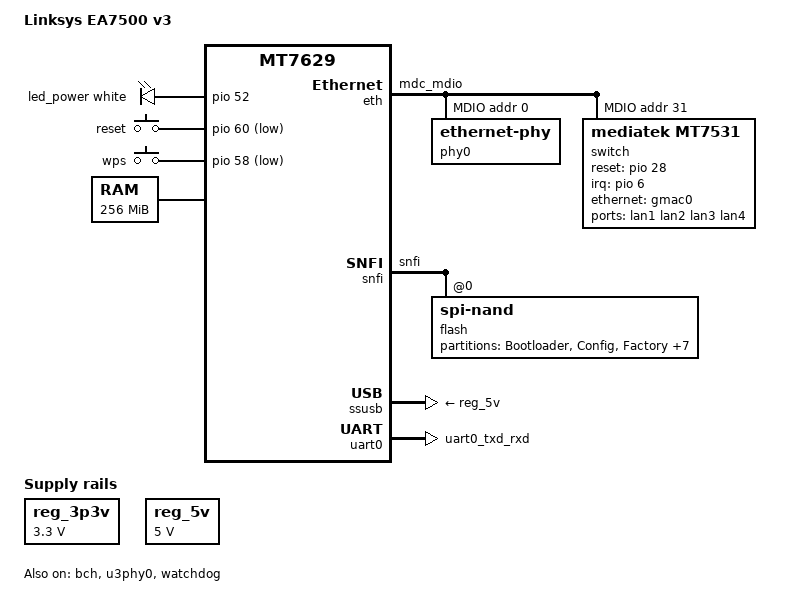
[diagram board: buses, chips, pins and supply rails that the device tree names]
// SPDX-License-Identifier: GPL-2.0

/dts-v1/;
#include <dt-bindings/input/input.h>
#include <dt-bindings/leds/common.h>
#include "mt7629.dtsi"

/ {
	model = "Linksys EA7500 v3";
	compatible = "linksys,ea7500-v3", "mediatek,mt7629";

	aliases {
		led-boot = &led_power;
		led-failsafe = &led_power;
		led-running = &led_power;
		led-upgrade = &led_power;
		serial0 = &uart0;
	};

	chosen {
		stdout-path = "serial0:115200n8";
		bootargs-override = "console=ttyS0,115200n8";
	};

	leds {
		compatible = "gpio-leds";

		led_power: power {
			function = LED_FUNCTION_POWER;
			color = <LED_COLOR_ID_WHITE>;
			gpios = <&pio 52 GPIO_ACTIVE_HIGH>;
		};
	};

	keys {
		compatible = "gpio-keys";

		reset {
			label = "reset";
			linux,code = <KEY_RESTART>;
			gpios = <&pio 60 GPIO_ACTIVE_LOW>;
		};

		wps {
			label = "wps";
			linux,code = <KEY_WPS_BUTTON>;
			gpios = <&pio 58 GPIO_ACTIVE_LOW>;
		};
	};

	memory@40000000 {
		device_type = "memory";
		reg = <0x40000000 0x10000000>;
	};

	reg_3p3v: regulator-3p3v {
		compatible = "regulator-fixed";
		regulator-name = "fixed-3.3V";
		regulator-min-microvolt = <3300000>;
		regulator-max-microvolt = <3300000>;
		regulator-boot-on;
		regulator-always-on;
	};

	reg_5v: regulator-5v {
		compatible = "regulator-fixed";
		regulator-name = "fixed-5V";
		regulator-min-microvolt = <5000000>;
		regulator-max-microvolt = <5000000>;
		regulator-boot-on;
		regulator-always-on;
	};
};

&eth {
	pinctrl-names = "default";
	pinctrl-0 = <&eth_pins>;
	pinctrl-1 = <&ephy_leds_pins>;
	status = "okay";

	gmac0: mac@0 {
		compatible = "mediatek,eth-mac";
		reg = <0>;
		phy-mode = "2500base-x";

		fixed-link {
			speed = <2500>;
			full-duplex;
			pause;
		};
	};

	gmac1: mac@1 {
		compatible = "mediatek,eth-mac";
		reg = <1>;
		phy-mode = "gmii";
		phy-handle = <&phy0>;
	};

	mdio: mdio-bus {
		#address-cells = <1>;
		#size-cells = <0>;

		phy0: ethernet-phy@0 {
			reg = <0>;
		};

		switch@1f {
			compatible = "mediatek,mt7531";
			reg = <31>;
			reset-gpios = <&pio 28 0>;
			interrupt-controller;
			#interrupt-cells = <1>;
			interrupt-parent = <&pio>;
			interrupts = <6 IRQ_TYPE_LEVEL_HIGH>;

			ports {
				#address-cells = <1>;
				#size-cells = <0>;

				port@0 {
					reg = <0>;
					label = "lan1";
				};

				port@1 {
					reg = <1>;
					label = "lan2";
				};

				port@2 {
					reg = <2>;
					label = "lan3";
				};

				port@3 {
					reg = <3>;
					label = "lan4";
				};

				port@6 {
					reg = <6>;
					ethernet = <&gmac0>;
					phy-mode = "2500base-x";

					fixed-link {
						speed = <2500>;
						full-duplex;
						pause;
					};
				};
			};
		};
	};
};

&bch {
	status = "okay";
};

&snfi {
	pinctrl-names = "default";
	pinctrl-0 = <&serial_nand_pins>;
	status = "okay";
	flash@0 {
		compatible = "spi-nand";
		reg = <0>;
		spi-tx-bus-width = <4>;
		spi-rx-bus-width = <4>;
		nand-ecc-engine = <&snfi>;
		mediatek,bmt-v2;

		partitions {
			compatible = "fixed-partitions";
			#address-cells = <1>;
			#size-cells = <1>;

			partition@0 {
				label = "Bootloader";
				reg = <0x0 0x100000>;
				read-only;
			};

			partition@100000 {
				label = "Config";
				reg = <0x100000 0x40000>;
			};

			partition@140000 {
				label = "Factory";
				reg = <0x140000 0x80000>;
				read-only;
			};

			partition@1c0000 {
				label = "kernel";
				reg = <0x1c0000 0x800000>;
			};

			partition@9c0000 {
				label = "ubi";
				reg = <0x9c0000 0x2000000>;
			};

			partition@29c0000 {
				label = "Kernel2";
				reg = <0x29c0000 0x2800000>;
				read-only;
			};

			partition@51c0000 {
				label = "devinfo";
				reg = <0x51c0000 0x40000>;
				read-only;
			};

			partition@5200000 {
				label = "sysdiag";
				reg = <0x5200000 0x100000>;
				read-only;
			};

			partition@5300000 {
				label = "syscfg";
				reg = <0x5300000 0x2000000>;
				read-only;
			};

			partition@7300000 {
				label = "s_env";
				reg = <0x7300000 0x40000>;
			};
		};
	};
};

&pio {
	eth_pins: eth-pins {
		mux {
			function = "eth";
			groups = "mdc_mdio";
		};
	};

	ephy_leds_pins: ephy-leds-pins {
		mux {
			function = "led";
			groups = "ephy_leds";
		};
	};

	/* Serial NAND is shared pin with SPI-NOR */
	serial_nand_pins: serial-nand-pins {
		mux {
			function = "flash";
			groups = "snfi";
		};
	};

	uart0_pins: uart0-pins {
		mux {
			function = "uart";
			groups = "uart0_txd_rxd" ;
		};
	};

	watchdog_pins: watchdog-pins {
		mux {
			function = "watchdog";
			groups = "watchdog";
		};
	};
};

&ssusb {
	vusb33-supply = <&reg_3p3v>;
	vbus-supply = <&reg_5v>;
	status = "okay";
};

&u3phy0 {
	status = "okay";
};

&uart0 {
	pinctrl-names = "default";
	pinctrl-0 = <&uart0_pins>;
	status = "okay";
};

&watchdog {
	pinctrl-names = "default";
	pinctrl-0 = <&watchdog_pins>;
	status = "okay";

	interrupt-controller;
	#interrupt-cells = <1>;
	interrupt-parent = <&pio>;
	interrupts = <GIC_SPI 0x80 IRQ_TYPE_EDGE_FALLING>;
};
